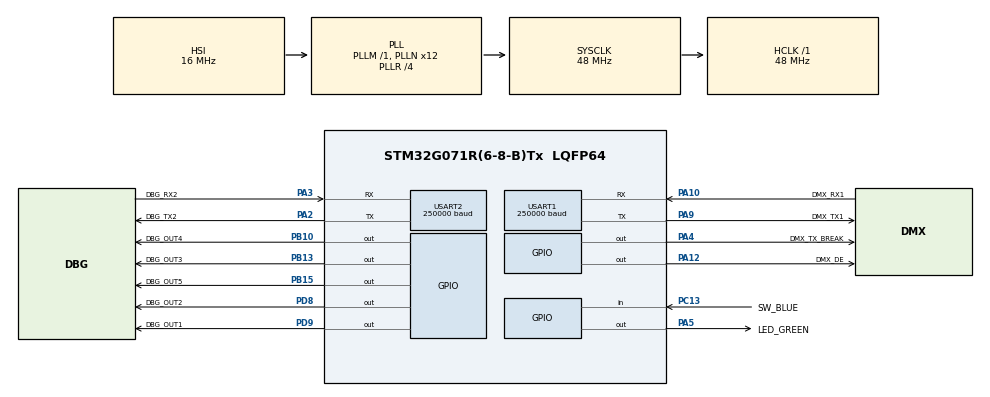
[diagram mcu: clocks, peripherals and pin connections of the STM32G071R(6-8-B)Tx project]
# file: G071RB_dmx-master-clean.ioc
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Mcu.Family=STM32G0
Mcu.Name=STM32G071R(6-8-B)Tx
Mcu.Package=LQFP64
Mcu.UserConstants=DMX_SLOT,44;TIM_CLK_MHZ,48;DMX_BREAK,176;DMX_MBS,0;DMX_MAB,12
NVIC.TIM2_IRQn=true\:0\:0\:false\:false\:true\:true\:true\:true
NVIC.TIM3_IRQn=true\:0\:0\:false\:false\:true\:true\:true\:true
PA10.GPIO_Label=DMX_RX1
PA10.Mode=Asynchronous
PA10.Signal=USART1_RX
PA12\ [PA10].GPIO_Label=DMX_DE
PA12\ [PA10].PinState=GPIO_PIN_SET
PA12\ [PA10].Signal=GPIO_Output
PA13.GPIO_Label=TMS
PA13.Mode=Serial_Wire
PA13.Signal=SYS_SWDIO
PA14-BOOT0.GPIO_Label=TCK
PA14-BOOT0.Mode=Serial_Wire
PA14-BOOT0.Signal=SYS_SWCLK
PA2.GPIO_Label=DBG_TX2
PA2.GPIO_PuPd=GPIO_PULLUP
PA2.Mode=Asynchronous
PA2.Signal=USART2_TX
PA3.GPIO_Label=DBG_RX2
PA3.GPIO_PuPd=GPIO_PULLUP
PA3.Mode=Asynchronous
PA3.Signal=USART2_RX
PA4.GPIO_Label=DMX_TX_BREAK
PA4.GPIO_ModeDefaultOutputPP=GPIO_MODE_OUTPUT_OD
PA4.GPIO_PuPd=GPIO_NOPULL
PA4.Signal=GPIO_Output
PA5.GPIO_Label=LED_GREEN
PA5.GPIO_Speed=GPIO_SPEED_FREQ_LOW
PA5.Signal=GPIO_Output
PA9.GPIO_Label=DMX_TX1
PA9.Mode=Asynchronous
PA9.Signal=USART1_TX
PB10.GPIO_Label=DBG_OUT4
PB10.Signal=GPIO_Output
PB13.GPIO_Label=DBG_OUT3
PB13.Signal=GPIO_Output
PB15.GPIO_Label=DBG_OUT5
PB15.Signal=GPIO_Output
PC13.GPIO_Label=SW_BLUE
PC13.Signal=GPIO_Input
PC14-OSC32_IN\ (PC14).Signal=RCC_OSC32_IN
PC15-OSC32_OUT\ (PC15).Signal=RCC_OSC32_OUT
PD8.GPIO_Label=DBG_OUT2
PD8.Signal=GPIO_Output
PD9.GPIO_Label=DBG_OUT1
PD9.Signal=GPIO_Output
PF0-OSC_IN\ (PF0).GPIO_Label=MCO
PF0-OSC_IN\ (PF0).Signal=RCC_OSC_IN
ProjectManager.HeapSize=0x200
ProjectManager.StackSize=0x400
ProjectManager.TargetToolchain=STM32CubeIDE
RCC.ADCFreq_Value=48000000
RCC.AHBFreq_Value=48000000
RCC.APB1CLKDivider=RCC_HCLK_DIV2
RCC.CortexFreq_Value=48000000
RCC.EXTERNAL_CLOCK_VALUE=12288000
RCC.HCLKFreq_Value=48000000
RCC.HSE_VALUE=8000000
RCC.HSI_VALUE=16000000
RCC.LSE_VALUE=32768
RCC.PLLN=12
RCC.PLLQ=RCC_PLLQ_DIV6
RCC.PLLR=RCC_PLLR_DIV4
RCC.SYSCLKFreq_VALUE=48000000
RCC.SYSCLKSource=RCC_SYSCLKSOURCE_PLLCLK
RCC.USART1CLockSelection=RCC_USART1CLKSOURCE_SYSCLK
RCC.USART2CLockSelection=RCC_USART2CLKSOURCE_SYSCLK
RCC.VCOOutputFreq_Value=192000000
TIM2.Period=DMX_SLOT + DMX_MBS
TIM2.Prescaler=TIM_CLK_MHZ-1
TIM3.Channel-Output\ Compare1\ No\ Output=TIM_CHANNEL_1
TIM3.Period=DMX_BREAK-4 + DMX_MAB
TIM3.Prescaler=TIM_CLK_MHZ-1
TIM3.Pulse-Output\ Compare1\ No\ Output=DMX_BREAK-16
USART1.BaudRate=250000
USART1.Mode=MODE_TX
USART1.StopBits=STOPBITS_2
USART1.VirtualMode-Asynchronous=VM_ASYNC
USART2.BaudRate=250000
USART2.VirtualMode-Asynchronous=VM_ASYNC
VP_SYS_VS_DBSignals.Mode=DisableDeadBatterySignals
VP_TIM2_VS_ClockSourceINT.Mode=Internal
VP_TIM3_VS_ClockSourceINT.Mode=Internal
VP_TIM3_VS_no_output1.Mode=Output Compare1 No Output
board=NUCLEO-G071RB

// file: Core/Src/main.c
/* USER CODE BEGIN Header */
/**
 ******************************************************************************
 * @file           : main.c
 * @brief          : Main program body
 ******************************************************************************
 * @attention
 *
 * Copyright (c) 2024 STMicroelectronics.
 * All rights reserved.
 *
 * This software is licensed under terms that can be found in the LICENSE file
 * in the root directory of this software component.
 * If no LICENSE file comes with this software, it is provided AS-IS.
 *
 ******************************************************************************
 */
//https://github.com/aleksandrgilfanov/stm32f4-dmx-transmitter
/*
  ******************************************************************************
  * TIM2	DMX	Break		        IRQ_UPDATE
  * TIM3	DMR MAB		            IRQ_UPDATE, IRQ_CC1
  * PA4		DMX USART Tx Break      IRQ from TIM3
  * USART1	DMX 250kbps 8B-2SB-0P   IRQ from TIM2
  * USART2	DBG 250kbps 9B-1SB-0P
  ******************************************************************************
  */

/* USER CODE END Header */
#include "main.h"

/* USER CODE BEGIN PD */
#define PROG_NAME       "G071RB dmx-master\r\n"
#define PROG_VERSION    "(31/05/24) v1.2\r\n"

#define LED_HB_PERIOD   42
#define LED_HB_BEAT     1
#define LED_HB_PAUSE    12

/* USER CODE END PD */

TIM_HandleTypeDef htim2;
TIM_HandleTypeDef htim3;

UART_HandleTypeDef huart1;
UART_HandleTypeDef huart2;

/* USER CODE BEGIN PV */
uint8_t test_packet[512];
uint8_t i = 0, up = 1;
uint8_t HeartBeat = 0;

/* USER CODE END PV */

void SystemClock_Config(void);
static void MX_GPIO_Init(void);
static void MX_USART2_UART_Init(void);
static void MX_USART1_UART_Init(void);
static void MX_TIM2_Init(void);
static void MX_TIM3_Init(void);
/* USER CODE BEGIN PFP */

#ifdef __GNUC__
/* With GCC/RAISONANCE, small printf (option LD Linker->Libraries->Small printf
 set to 'Yes') calls __io_putchar() */
#define PUTCHAR_PROTOTYPE int __io_putchar(int ch)
#else
#define PUTCHAR_PROTOTYPE int fputc(int ch, FILE *f)
#endif /* __GNUC__ */

/* USER CODE END PFP */

/* USER CODE BEGIN 0 */

PUTCHAR_PROTOTYPE {
	/* Place your implementation of fputc here */
	/* e.g. write a character to the USART1 and Loop until the end of transmission */
	HAL_UART_Transmit(&huart2, (uint8_t*) &ch, 1, 0xFFFF);

	return ch;
}

void read_Hardware(void){

    switch (HeartBeat++) {
        case 0:
        case LED_HB_PAUSE:
            LED_HB_ON();
            break;
        case LED_HB_BEAT:
        case (LED_HB_PAUSE + LED_HB_BEAT):
            LED_HB_OFF();
            break;
        case LED_HB_PERIOD:
            HeartBeat = 0;
            printf("%010lu:\r\n", HAL_GetTick());
            break;
    }
    if (!HAL_GPIO_ReadPin(SW_BLUE_GPIO_Port, SW_BLUE_Pin)){
        printf(PROG_NAME);
        printf(PROG_VERSION);
        while (!HAL_GPIO_ReadPin(SW_BLUE_GPIO_Port, SW_BLUE_Pin)){};
    };

}

void DMX_breath(uint8_t channel) {
    test_packet[channel] = i & 0xFF;
    test_packet[channel + 4] = i & 0xFF;
    test_packet[channel + 10] = (0xFF - i) & 0xFF;
    test_packet[channel + 14] = (0xFF - i) & 0xFF;

        HAL_Delay(1);

        if (up) {
            i = i + 10;
            if (i > 244)
                up = 0;
        } else {
            i = i - 10;
            if (i < 10)
                up = 1;
        }
    //}
}

/* USER CODE END 0 */

int main(void)
{

  /* MCU Configuration--------------------------------------------------------*/

  /* Reset of all peripherals, Initializes the Flash interface and the Systick. */
  HAL_Init();

  /* Configure the system clock */
  SystemClock_Config();

  /* Initialize all configured peripherals */
  MX_GPIO_Init();
  MX_USART2_UART_Init();
  MX_USART1_UART_Init();
  MX_TIM2_Init();
  MX_TIM3_Init();
  /* USER CODE BEGIN 2 */

	for (int i = 0; i < sizeof(test_packet); i++)
		test_packet[i] = 0;//i & 0xFF;

  /* USER CODE END 2 */

  /* Infinite loop */
  /* USER CODE BEGIN WHILE */

	while (1) {

		DBG_OUT1_H();
		dmx_send(test_packet, sizeof(test_packet));
		DMX_breath(0);

		read_Hardware();

		//HAL_Delay(100);

    /* USER CODE END WHILE */

	}
}

void SystemClock_Config(void)
{
  RCC_OscInitTypeDef RCC_OscInitStruct = {0};
  RCC_ClkInitTypeDef RCC_ClkInitStruct = {0};

  /** Configure the main internal regulator output voltage
  */
  HAL_PWREx_ControlVoltageScaling(PWR_REGULATOR_VOLTAGE_SCALE1);

  /** Initializes the RCC Oscillators according to the specified parameters
  * in the RCC_OscInitTypeDef structure.
  */
  RCC_OscInitStruct.OscillatorType = RCC_OSCILLATORTYPE_HSI;
  RCC_OscInitStruct.HSIState = RCC_HSI_ON;
  RCC_OscInitStruct.HSIDiv = RCC_HSI_DIV1;
  RCC_OscInitStruct.HSICalibrationValue = RCC_HSICALIBRATION_DEFAULT;
  RCC_OscInitStruct.PLL.PLLState = RCC_PLL_ON;
  RCC_OscInitStruct.PLL.PLLSource = RCC_PLLSOURCE_HSI;
  RCC_OscInitStruct.PLL.PLLM = RCC_PLLM_DIV1;
  RCC_OscInitStruct.PLL.PLLN = 12;
  RCC_OscInitStruct.PLL.PLLP = RCC_PLLP_DIV2;
  RCC_OscInitStruct.PLL.PLLQ = RCC_PLLQ_DIV6;
  RCC_OscInitStruct.PLL.PLLR = RCC_PLLR_DIV4;
  if (HAL_RCC_OscConfig(&RCC_OscInitStruct) != HAL_OK)
  {
    Error_Handler();
  }

  /** Initializes the CPU, AHB and APB buses clocks
  */
  RCC_ClkInitStruct.ClockType = RCC_CLOCKTYPE_HCLK|RCC_CLOCKTYPE_SYSCLK
                              |RCC_CLOCKTYPE_PCLK1;
  RCC_ClkInitStruct.SYSCLKSource = RCC_SYSCLKSOURCE_PLLCLK;
  RCC_ClkInitStruct.AHBCLKDivider = RCC_SYSCLK_DIV1;
  RCC_ClkInitStruct.APB1CLKDivider = RCC_HCLK_DIV2;

  if (HAL_RCC_ClockConfig(&RCC_ClkInitStruct, FLASH_LATENCY_1) != HAL_OK)
  {
    Error_Handler();
  }
}

static void MX_TIM2_Init(void)
{

  TIM_ClockConfigTypeDef sClockSourceConfig = {0};
  TIM_MasterConfigTypeDef sMasterConfig = {0};

  htim2.Instance = TIM2;
  htim2.Init.Prescaler = TIM_CLK_MHZ-1;
  htim2.Init.CounterMode = TIM_COUNTERMODE_UP;
  htim2.Init.Period = DMX_SLOT + DMX_MBS;
  htim2.Init.ClockDivision = TIM_CLOCKDIVISION_DIV1;
  htim2.Init.AutoReloadPreload = TIM_AUTORELOAD_PRELOAD_DISABLE;
  if (HAL_TIM_Base_Init(&htim2) != HAL_OK)
  {
    Error_Handler();
  }
  sClockSourceConfig.ClockSource = TIM_CLOCKSOURCE_INTERNAL;
  if (HAL_TIM_ConfigClockSource(&htim2, &sClockSourceConfig) != HAL_OK)
  {
    Error_Handler();
  }
  sMasterConfig.MasterOutputTrigger = TIM_TRGO_RESET;
  sMasterConfig.MasterSlaveMode = TIM_MASTERSLAVEMODE_DISABLE;
  if (HAL_TIMEx_MasterConfigSynchronization(&htim2, &sMasterConfig) != HAL_OK)
  {
    Error_Handler();
  }
  /* USER CODE BEGIN TIM2_Init 2 */

	 /*
	   * Update flag should be cleaned, to prevent unwanted interrupt. Inerrupt
	   * flag is generated earlier, by following call:
	   * HAL_TIM_Base_Init -> TIM_Base_SetConfig -> TIMx->EGR = TIM_EGR_UG
	   */
	  __HAL_TIM_CLEAR_IT(&htim2, TIM_FLAG_UPDATE);
	  /* Enable interrupts, but don't enable timer counter, to prevent interrupts */
	  __HAL_TIM_ENABLE_IT(&htim2, TIM_IT_UPDATE);

  /* USER CODE END TIM2_Init 2 */

}

static void MX_TIM3_Init(void)
{

  TIM_ClockConfigTypeDef sClockSourceConfig = {0};
  TIM_MasterConfigTypeDef sMasterConfig = {0};
  TIM_OC_InitTypeDef sConfigOC = {0};

  htim3.Instance = TIM3;
  htim3.Init.Prescaler = TIM_CLK_MHZ-1;
  htim3.Init.CounterMode = TIM_COUNTERMODE_UP;
  htim3.Init.Period = DMX_BREAK-4 + DMX_MAB;
  htim3.Init.ClockDivision = TIM_CLOCKDIVISION_DIV1;
  htim3.Init.AutoReloadPreload = TIM_AUTORELOAD_PRELOAD_DISABLE;
  if (HAL_TIM_Base_Init(&htim3) != HAL_OK)
  {
    Error_Handler();
  }
  sClockSourceConfig.ClockSource = TIM_CLOCKSOURCE_INTERNAL;
  if (HAL_TIM_ConfigClockSource(&htim3, &sClockSourceConfig) != HAL_OK)
  {
    Error_Handler();
  }
  if (HAL_TIM_OC_Init(&htim3) != HAL_OK)
  {
    Error_Handler();
  }
  sMasterConfig.MasterOutputTrigger = TIM_TRGO_RESET;
  sMasterConfig.MasterSlaveMode = TIM_MASTERSLAVEMODE_DISABLE;
  if (HAL_TIMEx_MasterConfigSynchronization(&htim3, &sMasterConfig) != HAL_OK)
  {
    Error_Handler();
  }
  sConfigOC.OCMode = TIM_OCMODE_TIMING;
  sConfigOC.Pulse = DMX_BREAK-16;
  sConfigOC.OCPolarity = TIM_OCPOLARITY_HIGH;
  sConfigOC.OCFastMode = TIM_OCFAST_DISABLE;
  if (HAL_TIM_OC_ConfigChannel(&htim3, &sConfigOC, TIM_CHANNEL_1) != HAL_OK)
  {
    Error_Handler();
  }
  /* USER CODE BEGIN TIM3_Init 2 */

	 /*
	   * Update flag should be cleaned, to prevent unwanted interrupt. Inerrupt
	   * flag is generated earlier, by following call:
	   * HAL_TIM_Base_Init -> TIM_Base_SetConfig -> TIMx->EGR = TIM_EGR_UG
	   */
	  //__HAL_TIM_CLEAR_IT(&htim3, TIM_FLAG_UPDATE);
	  //__HAL_TIM_CLEAR_IT(&htim3, TIM_IT_CC1);//h24

	  /* Enable interrupts, but don't enable timer counter, to prevent interrupts */
	  __HAL_TIM_ENABLE_IT(&htim3, TIM_IT_UPDATE);
	  __HAL_TIM_ENABLE_IT(&htim3, TIM_IT_CC1);
	  //__HAL_TIM_ENABLE_IT(&htim3, TIM_IT_CC2);

  /* USER CODE END TIM3_Init 2 */

}

static void MX_USART1_UART_Init(void)
{

  huart1.Instance = USART1;
  huart1.Init.BaudRate = 250000;
  huart1.Init.WordLength = UART_WORDLENGTH_8B;
  huart1.Init.StopBits = UART_STOPBITS_2;
  huart1.Init.Parity = UART_PARITY_NONE;
  huart1.Init.Mode = UART_MODE_TX;
  huart1.Init.HwFlowCtl = UART_HWCONTROL_NONE;
  huart1.Init.OverSampling = UART_OVERSAMPLING_16;
  huart1.Init.OneBitSampling = UART_ONE_BIT_SAMPLE_DISABLE;
  huart1.Init.ClockPrescaler = UART_PRESCALER_DIV1;
  huart1.AdvancedInit.AdvFeatureInit = UART_ADVFEATURE_NO_INIT;
  if (HAL_UART_Init(&huart1) != HAL_OK)
  {
    Error_Handler();
  }
  if (HAL_UARTEx_SetTxFifoThreshold(&huart1, UART_TXFIFO_THRESHOLD_1_8) != HAL_OK)
  {
    Error_Handler();
  }
  if (HAL_UARTEx_SetRxFifoThreshold(&huart1, UART_RXFIFO_THRESHOLD_1_8) != HAL_OK)
  {
    Error_Handler();
  }
  if (HAL_UARTEx_DisableFifoMode(&huart1) != HAL_OK)
  {
    Error_Handler();
  }

}

static void MX_USART2_UART_Init(void)
{

  huart2.Instance = USART2;
  huart2.Init.BaudRate = 250000;
  huart2.Init.WordLength = UART_WORDLENGTH_8B;
  huart2.Init.StopBits = UART_STOPBITS_1;
  huart2.Init.Parity = UART_PARITY_NONE;
  huart2.Init.Mode = UART_MODE_TX_RX;
  huart2.Init.HwFlowCtl = UART_HWCONTROL_NONE;
  huart2.Init.OverSampling = UART_OVERSAMPLING_16;
  huart2.Init.OneBitSampling = UART_ONE_BIT_SAMPLE_DISABLE;
  huart2.Init.ClockPrescaler = UART_PRESCALER_DIV1;
  huart2.AdvancedInit.AdvFeatureInit = UART_ADVFEATURE_NO_INIT;
  if (HAL_UART_Init(&huart2) != HAL_OK)
  {
    Error_Handler();
  }
  if (HAL_UARTEx_SetTxFifoThreshold(&huart2, UART_TXFIFO_THRESHOLD_1_8) != HAL_OK)
  {
    Error_Handler();
  }
  if (HAL_UARTEx_SetRxFifoThreshold(&huart2, UART_RXFIFO_THRESHOLD_1_8) != HAL_OK)
  {
    Error_Handler();
  }
  if (HAL_UARTEx_DisableFifoMode(&huart2) != HAL_OK)
  {
    Error_Handler();
  }

}

static void MX_GPIO_Init(void)
{
  GPIO_InitTypeDef GPIO_InitStruct = {0};

  /* GPIO Ports Clock Enable */
  __HAL_RCC_GPIOC_CLK_ENABLE();
  __HAL_RCC_GPIOF_CLK_ENABLE();
  __HAL_RCC_GPIOA_CLK_ENABLE();
  __HAL_RCC_GPIOB_CLK_ENABLE();
  __HAL_RCC_GPIOD_CLK_ENABLE();

  /*Configure GPIO pin Output Level */
  HAL_GPIO_WritePin(GPIOA, DMX_TX_BREAK_Pin|LED_GREEN_Pin, GPIO_PIN_RESET);

  /*Configure GPIO pin Output Level */
  HAL_GPIO_WritePin(GPIOB, DBG_OUT4_Pin|DBG_OUT3_Pin|DBG_OUT5_Pin, GPIO_PIN_RESET);

  /*Configure GPIO pin Output Level */
  HAL_GPIO_WritePin(GPIOD, DBG_OUT2_Pin|DBG_OUT1_Pin, GPIO_PIN_RESET);

  /*Configure GPIO pin Output Level */
  HAL_GPIO_WritePin(DMX_DE_GPIO_Port, DMX_DE_Pin, GPIO_PIN_SET);

  /*Configure GPIO pin : SW_BLUE_Pin */
  GPIO_InitStruct.Pin = SW_BLUE_Pin;
  GPIO_InitStruct.Mode = GPIO_MODE_INPUT;
  GPIO_InitStruct.Pull = GPIO_NOPULL;
  HAL_GPIO_Init(SW_BLUE_GPIO_Port, &GPIO_InitStruct);

  /*Configure GPIO pin : DMX_TX_BREAK_Pin */
  GPIO_InitStruct.Pin = DMX_TX_BREAK_Pin;
  GPIO_InitStruct.Mode = GPIO_MODE_OUTPUT_OD;
  GPIO_InitStruct.Pull = GPIO_NOPULL;
  GPIO_InitStruct.Speed = GPIO_SPEED_FREQ_LOW;
  HAL_GPIO_Init(DMX_TX_BREAK_GPIO_Port, &GPIO_InitStruct);

  /*Configure GPIO pins : LED_GREEN_Pin DMX_DE_Pin */
  GPIO_InitStruct.Pin = LED_GREEN_Pin|DMX_DE_Pin;
  GPIO_InitStruct.Mode = GPIO_MODE_OUTPUT_PP;
  GPIO_InitStruct.Pull = GPIO_NOPULL;
  GPIO_InitStruct.Speed = GPIO_SPEED_FREQ_LOW;
  HAL_GPIO_Init(GPIOA, &GPIO_InitStruct);

  /*Configure GPIO pins : DBG_OUT4_Pin DBG_OUT3_Pin DBG_OUT5_Pin */
  GPIO_InitStruct.Pin = DBG_OUT4_Pin|DBG_OUT3_Pin|DBG_OUT5_Pin;
  GPIO_InitStruct.Mode = GPIO_MODE_OUTPUT_PP;
  GPIO_InitStruct.Pull = GPIO_NOPULL;
  GPIO_InitStruct.Speed = GPIO_SPEED_FREQ_LOW;
  HAL_GPIO_Init(GPIOB, &GPIO_InitStruct);

  /*Configure GPIO pins : DBG_OUT2_Pin DBG_OUT1_Pin */
  GPIO_InitStruct.Pin = DBG_OUT2_Pin|DBG_OUT1_Pin;
  GPIO_InitStruct.Mode = GPIO_MODE_OUTPUT_PP;
  GPIO_InitStruct.Pull = GPIO_NOPULL;
  GPIO_InitStruct.Speed = GPIO_SPEED_FREQ_LOW;
  HAL_GPIO_Init(GPIOD, &GPIO_InitStruct);

}

void Error_Handler(void)
{
	__disable_irq();
	while (1) {
	}
}
